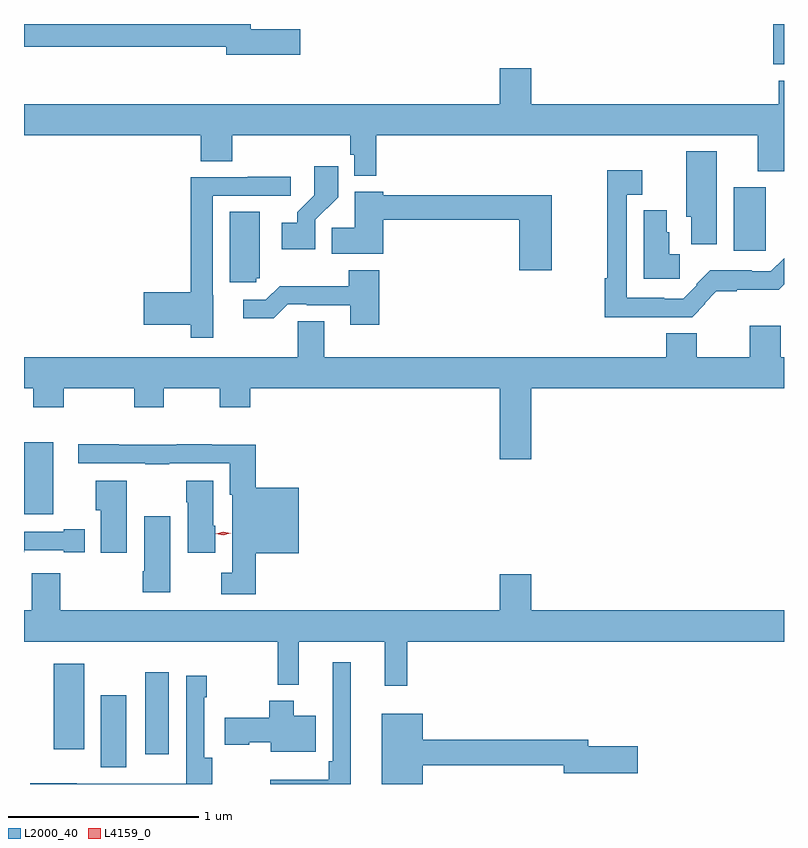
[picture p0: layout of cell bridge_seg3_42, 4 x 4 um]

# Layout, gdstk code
import gdstk
lib = gdstk.Library(unit=1e-6, precision=1e-09)
def R(c, l, rs):  # rectangles x0, y0, x1, y1
    for r in rs: c.add(gdstk.rectangle(r[:2], r[2:], *l))
def P(c, l, *ps):  # polygons
    for p in ps: c.add(gdstk.Polygon(p, *l))
L2000_40 = (2000, 40)
L4159_0 = (4159, 0)

bridge_seg3_42 = lib.new_cell('bridge_seg3_42')
R(bridge_seg3_42, L2000_40, [(702.368,682.937,702.502,683.317), (702.602,683.007,702.724,683.437), (702.119,683.034,702.28,683.482), (701.963,684.269,702.118,684.649), (705.698,685.656,705.868,685.99), (705.907,686.637,705.963,686.85)])
P(bridge_seg3_42, L2000_40, [(703.417,686.822),(703.156,686.822),(703.156,686.85),(701.963,686.85),(701.963,686.73),(703.028,686.73),(703.028,686.687),(703.417,686.687)],
  [(703.817,686.264),(705.824,686.264),(705.824,686.075),(705.963,686.075),(705.963,686.552),(705.935,686.552),(705.935,686.428),(704.632,686.428),(704.632,686.617),(704.468,686.617),(704.468,686.428),(701.963,686.428),(701.963,686.264),(702.893,686.264),(702.893,686.128),(703.058,686.128),(703.058,686.264),(703.681,686.264),(703.681,686.163),(703.701,686.163),(703.701,686.051),(703.817,686.051)],
  [(705.61,686.179),(705.449,686.179),(705.449,685.836),(705.476,685.836),(705.476,685.692),(705.61,685.692)],
  [(703.497,685.819),(703.616,685.938),(703.616,686.101),(703.491,686.101),(703.491,685.949),(703.4,685.859),(703.4,685.804),(703.32,685.804),(703.32,685.664),(703.497,685.664)],
  [(705.549,685.377),(705.545,685.381),(705.607,685.443),(705.715,685.443),(705.715,685.451),(705.935,685.451),(705.963,685.479),(705.963,685.617),(705.894,685.548),(705.794,685.548),(705.794,685.553),(705.575,685.553),(705.501,685.479),(705.504,685.476),(705.432,685.404),(705.332,685.404),(705.332,685.408),(705.135,685.408),(705.135,685.952),(705.218,685.952),(705.218,686.08),(705.034,686.08),(705.034,685.511),(705.019,685.511),(705.019,685.307),(705.479,685.307)],
  [(702.958,685.422),(702.957,685.422),(702.957,685.947),(703.366,685.947),(703.366,686.046),(703.141,686.046),(703.141,686.043),(702.841,686.043),(702.841,685.439),(702.594,685.439),(702.594,685.268),(702.841,685.268),(702.841,685.2),(702.958,685.2)],
  [(704.74,685.948),(703.853,685.948),(703.853,685.966),(703.703,685.966),(703.703,685.778),(703.582,685.778),(703.582,685.64),(703.853,685.64),(703.853,685.819),(704.57,685.819),(704.57,685.554),(704.74,685.554)],
  [(705.415,685.639),(705.358,685.639),(705.358,685.755),(705.346,685.755),(705.346,685.871),(705.224,685.871),(705.224,685.51),(705.415,685.51)],
  [(703.185,685.512),(703.204,685.512),(703.204,685.861),(703.046,685.861),(703.046,685.491),(703.185,685.491)],
  [(703.832,685.555),(703.672,685.555),(703.672,685.471),(703.309,685.471),(703.236,685.398),(703.116,685.398),(703.116,685.301),(703.277,685.301),(703.35,685.374),(703.45,685.374),(703.45,685.371),(703.679,685.371),(703.679,685.266),(703.832,685.266)],
  [(703.543,685.286),(703.404,685.286),(703.404,685.096),(701.963,685.096),(701.963,684.932),(702.011,684.932),(702.011,684.833),(702.171,684.833),(702.171,684.932),(702.544,684.932),(702.544,684.833),(702.699,684.833),(702.699,684.932),(702.994,684.932),(702.994,684.833),(703.154,684.833),(703.154,684.932),(704.468,684.932),(704.468,684.558),(704.632,684.558),(704.632,684.932),(705.963,684.932),(705.963,685.096),(705.946,685.096),(705.946,685.261),(705.782,685.261),(705.782,685.096),(705.505,685.096),(705.505,685.222),(705.344,685.222),(705.344,685.096),(703.543,685.096)],
  [(703.184,684.065),(703.408,684.065),(703.408,684.409),(703.184,684.409),(703.184,684.635),(702.95,684.635),(702.95,684.638),(702.767,684.638),(702.767,684.635),(702.461,684.635),(702.461,684.638),(702.249,684.638),(702.249,684.537),(702.601,684.537),(702.601,684.532),(702.728,684.532),(702.728,684.537),(703.046,684.537),(703.046,684.372),(703.058,684.372),(703.058,683.962),(703.002,683.962),(703.002,683.849),(703.184,683.849)],
  [(702.505,684.445),(702.341,684.445),(702.341,684.291),(702.368,684.291),(702.368,684.066),(702.505,684.066)],
  [(702.97,684.21),(702.958,684.21),(702.958,684.445),(702.817,684.445),(702.817,684.332),(702.824,684.332),(702.824,684.066),(702.97,684.066)],
  [(702.733,684.259),(702.596,684.259),(702.596,683.971),(702.589,683.971),(702.589,683.859),(702.733,683.859)],
  [(701.965,684.081),(702.173,684.081),(702.173,684.069),(702.283,684.069),(702.283,684.19),(702.173,684.19),(702.173,684.177),(701.963,684.177),(701.963,684.069),(701.965,684.069)],
  [(703.979,683.6),(705.963,683.6),(705.963,683.764),(704.632,683.764),(704.632,683.953),(704.468,683.953),(704.468,683.764),(702.153,683.764),(702.153,683.959),(702.005,683.959),(702.005,683.764),(701.963,683.764),(701.963,683.6),(703.299,683.6),(703.299,683.372),(703.409,683.372),(703.409,683.6),(703.862,683.6),(703.862,683.367),(703.979,683.367)],
  [(703.684,683.491),(703.587,683.491),(703.587,682.969),(703.567,682.969),(703.567,682.873),(703.26,682.873),(703.26,682.85),(703.684,682.85)],
  [(702.954,682.987),(702.912,682.987),(702.912,683.306),(702.925,683.306),(702.925,683.419),(702.816,683.419),(702.816,682.852),(702.613,682.852),(702.613,682.851),(702.241,682.851),(702.241,682.853),(701.997,682.853),(701.997,682.85),(702.954,682.85)],
  [(703.498,683.209),(703.384,683.209),(703.384,683.287),(703.255,683.287),(703.255,683.199),(703.02,683.199),(703.02,683.057),(703.149,683.057),(703.149,683.069),(703.262,683.069),(703.262,683.021),(703.498,683.021)],
  [(704.062,682.948),(704.804,682.948),(704.804,682.906),(705.193,682.906),(705.193,683.048),(704.932,683.048),(704.932,683.084),(704.062,683.084),(704.062,683.221),(703.847,683.221),(703.847,682.85),(704.062,682.85)])
P(bridge_seg3_42, L4159_0, [(703.012,684.158),(702.971,684.166),(702.971,684.166),(702.971,684.166),(703.011,684.178),(703.052,684.17),(703.052,684.169),(703.052,684.169)])

lib.write_gds('bridge_seg3_42.gds')
